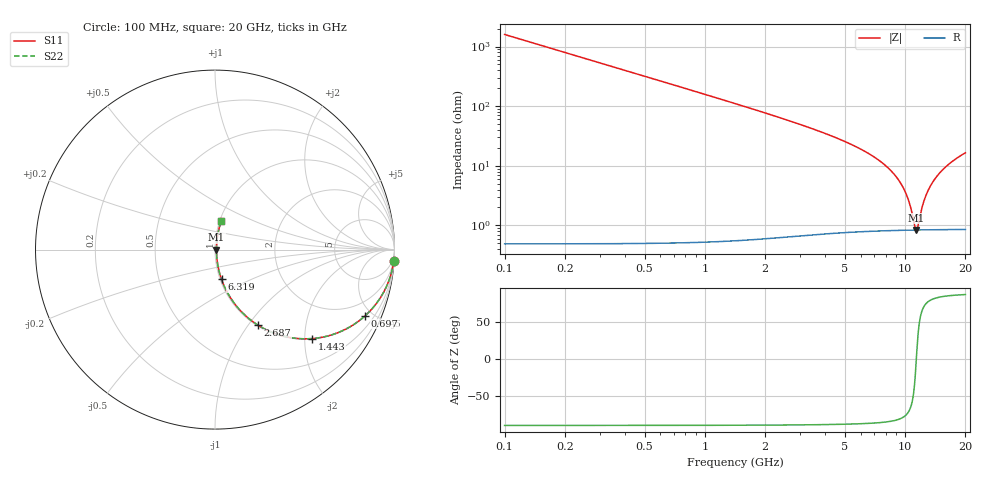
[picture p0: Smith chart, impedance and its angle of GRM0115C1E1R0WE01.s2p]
!Murata Part Number: GRM0115C1E1R0WE01
!These Parameters are Measured in Series Mode Connection
!Data Generated on Mar 30, 2021
!  o--ll--o
!Port1  Port2
!  o------o
!Operation Temp=25[degC], DC Bias Voltage=0[V]
!Freq. Start=100[MHz] Stop=20[GHz] 401[Steps]
# Hz S RI R 50
!Freq.(Hz) S11(Real) S11(Imag) S21(Real) S21(Imag) S12(Real) S12(Imag) S22(Real) S22(Imag)
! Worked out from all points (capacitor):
!   401 points, 100 MHz to 20 GHz, reference 50 ohm
!   read as one part in series: C = 1 pF near 199.5 MHz
!   lowest |Z| = 840 mohm at 11.39 GHz (marker M1)
!   series resonance near 11.38 GHz, so ESL is about 200 pH
!   S11 on the Smith chart (normalised r, x): 100 MHz: 1, -32; 697 MHz: 1.01, -4.55; 1.443 GHz: 1.01, -2.17; 2.687 GHz: 1.01, -1.12; 6.319 GHz: 1.02, -0.35; 20 GHz: 1.02, +0.33
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1e8  0.996 -0.0626  0.00395 0.0626  0.00395 0.0626  0.996 -0.0626
3.4875e8  0.9539 -0.2092  0.0461 0.2092  0.0461 0.2092  0.9539 -0.2092
4.98e8  0.9101 -0.2852  0.0899 0.2852  0.0899 0.2852  0.9101 -0.2852
6.97e8  0.8374 -0.3679  0.1626 0.3679  0.1626 0.3679  0.8374 -0.3679
1.04525e9  0.6942 -0.459  0.3058 0.459  0.3058 0.459  0.6942 -0.459
1.44325e9  0.5399 -0.4959  0.4601 0.4959  0.4601 0.4959  0.5399 -0.4959
2.04025e9  0.3632 -0.477  0.6368 0.477  0.6368 0.477  0.3632 -0.477
2.687e9  0.2398 -0.4212  0.7602 0.4212  0.7602 0.4212  0.2398 -0.4212
3.43325e9  0.1539 -0.3527  0.8461 0.3527  0.8461 0.3527  0.1539 -0.3527
6.31875e9  0.0363 -0.1657  0.9637 0.1657  0.9637 0.1657  0.0363 -0.1657
6.7665e9  0.0297 -0.1455  0.9703 0.1455  0.9703 0.1455  0.0297 -0.1455
8.7565e9  0.0134 -0.0721  0.9866 0.0721  0.9866 0.0721  0.0134 -0.0721
1.005e10  0.00942 -0.034  0.9906 0.034  0.9906 0.034  0.00942 -0.034
1.059725e10  0.00867 -0.0195  0.9913 0.0195  0.9913 0.0195  0.00867 -0.0195
1.119425e10  0.00833 -0.00449  0.9917 0.00449  0.9917 0.00449  0.00833 -0.00449
1.139325e10  0.00832 0.000324  0.9917 -0.000324  0.9917 -0.000324  0.00832 0.000324
1.15425e10  0.00834 0.00388  0.9917 -0.00388  0.9917 -0.00388  0.00834 0.00388
1.238825e10  0.0089 0.0232  0.9911 -0.0232  0.9911 -0.0232  0.0089 0.0232
1.338325e10  0.0104 0.0444  0.9896 -0.0444  0.9896 -0.0444  0.0104 0.0444
1.477625e10  0.0137 0.0718  0.9863 -0.0718  0.9863 -0.0718  0.0137 0.0718
1.67165e10  0.02 0.1064  0.98 -0.1064  0.98 -0.1064  0.02 0.1064
2e10  0.0344 0.1581  0.9656 -0.1581  0.9656 -0.1581  0.0344 0.1581
